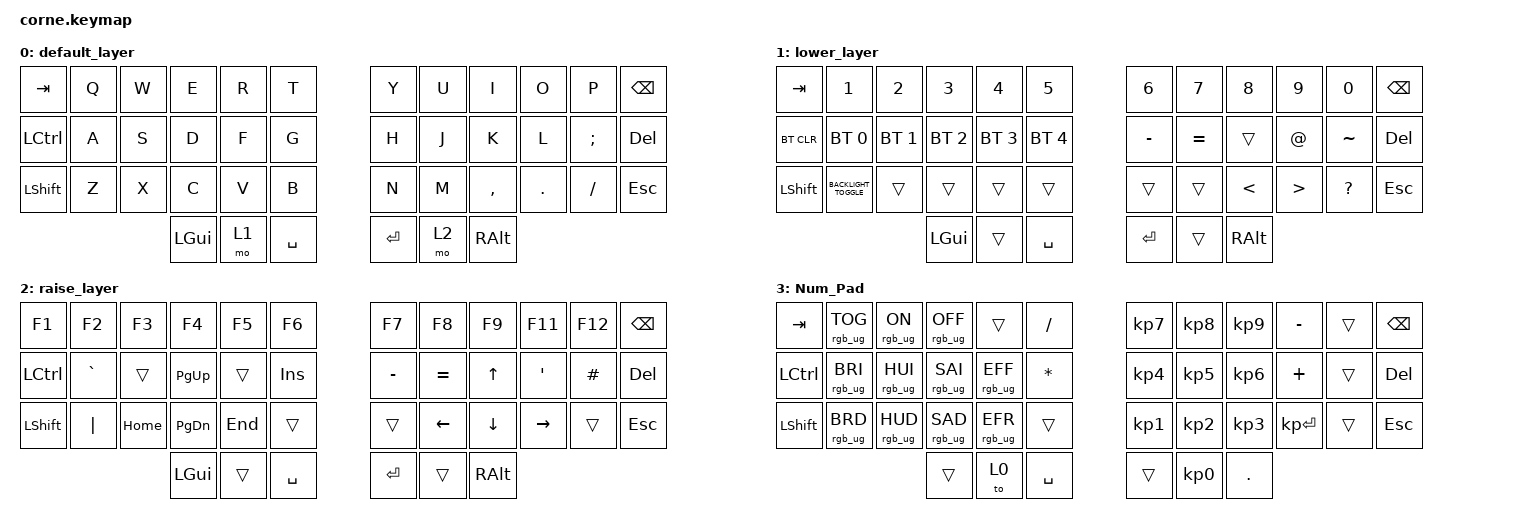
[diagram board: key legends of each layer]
/*
 * Copyright (c) 2020 The ZMK Contributors
 *
 * SPDX-License-Identifier: MIT
 */

#include "keys_uk.h"
#include <behaviors.dtsi>
#include <dt-bindings/zmk/bt.h>
#include <dt-bindings/zmk/keys.h>
#include <dt-bindings/zmk/rgb.h>

&led_strip { chain-length = <54>; };

/ {
    combos {
        compatible = "zmk,combos";

        KB {
            bindings = <&to 3>;
            key-positions = <37 40>;
        };
    };

    keymap {
        compatible = "zmk,keymap";

        default_layer {
            // -----------------------------------------------------------------------------------------
            // |  TAB |  Q  |  W  |  E  |  R  |  T  |   |  Y  |  U   |  I  |  O  |  P  | BKSP |
            // | CTRL |  A  |  S  |  D  |  F  |  G  |   |  H  |  J   |  K  |  L  |  ;  |  '   |
            // | SHFT |  Z  |  X  |  C  |  V  |  B  |   |  N  |  M   |  ,  |  .  |  /  | ESC  |
            //                    | GUI | LWR | SPC |   | ENT | RSE  | ALT |

            bindings = <
&kp TAB    &kp Q  &kp W  &kp E     &kp R  &kp T        &kp Y    &kp U  &kp I      &kp O    &kp P     &kp BSPC
&kp LCTRL  &kp A  &kp S  &kp D     &kp F  &kp G        &kp H    &kp J  &kp K      &kp L    &kp SEMI  &kp DELETE
&kp LSHFT  &kp Z  &kp X  &kp C     &kp V  &kp B        &kp N    &kp M  &kp COMMA  &kp DOT  &kp FSLH  &kp ESC
                         &kp LGUI  &mo 1  &kp SPACE    &kp RET  &mo 2  &kp RALT
            >;
        };

        lower_layer {
            // -----------------------------------------------------------------------------------------
            // |  TAB |  1  |  2  |  3  |  4  |  5  |   |  6  |  7  |  8  |  9  |  0  | BKSP |
            // | BTCLR| BT1 | BT2 | BT3 | BT4 | BT5 |   | LFT | DWN |  UP | RGT |     |      |
            // | SHFT |     |     |     |     |     |   |     |     |     |     |     |      |
            //                    | GUI |     | SPC |   | ENT |     | ALT |

            bindings = <
&kp TAB     &kp N1                  &kp N2        &kp N3        &kp N4        &kp N5          &kp N6     &kp N7     &kp N8         &kp N9            &kp N0     &kp BSPC
&bt BT_CLR  &bt BT_SEL 0            &bt BT_SEL 1  &bt BT_SEL 2  &bt BT_SEL 3  &bt BT_SEL 4    &kp MINUS  &kp EQUAL  &trans         &kp AT            &kp TILDE  &kp DELETE
&kp LSHFT   &kp C_BACKLIGHT_TOGGLE  &trans        &trans        &trans        &trans          &trans     &trans     &kp LESS_THAN  &kp GREATER_THAN  &kp QMARK  &kp ESC
                                                  &kp LGUI      &trans        &kp SPACE       &kp RET    &trans     &kp RALT
            >;
        };

        raise_layer {
            // -----------------------------------------------------------------------------------------
            // |  TAB |  !  |  @  |  #  |  $  |  %  |   |  ^  |  &  |  *  |  (  |  )  | BKSP |
            // | CTRL |     |     |     |     |     |   |  -  |  =  |  [  |  ]  |  \  |  `   |
            // | SHFT |     |     |     |     |     |   |  _  |  +  |  {  |  }  | "|" |  ~   |
            //                    | GUI |     | SPC |   | ENT |     | ALT |

            bindings = <
&kp F1     &kp F2     &kp F3    &kp F4       &kp F5   &kp F6       &kp F7     &kp F8     &kp F9        &kp F11           &kp F12   &kp BSPC
&kp LCTRL  &kp GRAVE  &trans    &kp PAGE_UP  &trans   &kp INS      &kp MINUS  &kp EQUAL  &kp UP_ARROW  &kp SINGLE_QUOTE  &kp HASH  &kp DELETE
&kp LSHFT  &kp PIPE   &kp HOME  &kp PG_DN    &kp END  &trans       &trans     &kp LEFT   &kp DOWN      &kp RIGHT         &trans    &kp ESC
                                &kp LGUI     &trans   &kp SPACE    &kp RET    &trans     &kp RALT
            >;
        };

        Num_Pad {
            bindings = <
&kp TAB    &rgb_ug RGB_TOG  &rgb_ug RGB_ON   &rgb_ug RGB_OFF  &trans           &kp SLASH       &kp KP_NUMBER_7  &kp KP_NUMBER_8  &kp KP_NUMBER_9  &kp MINUS     &trans  &kp BSPC
&kp LCTRL  &rgb_ug RGB_BRI  &rgb_ug RGB_HUI  &rgb_ug RGB_SAI  &rgb_ug RGB_EFF  &kp ASTERISK    &kp KP_NUMBER_4  &kp KP_N5        &kp KP_NUMBER_6  &kp PLUS      &trans  &kp DELETE
&kp LSHFT  &rgb_ug RGB_BRD  &rgb_ug RGB_HUD  &rgb_ug RGB_SAD  &rgb_ug RGB_EFR  &trans          &kp KP_NUMBER_1  &kp KP_NUMBER_2  &kp KP_NUMBER_3  &kp KP_ENTER  &trans  &kp ESC
                                             &trans           &to 0            &kp SPACE       &trans           &kp KP_N0        &kp DOT
            >;
        };
    };
};
